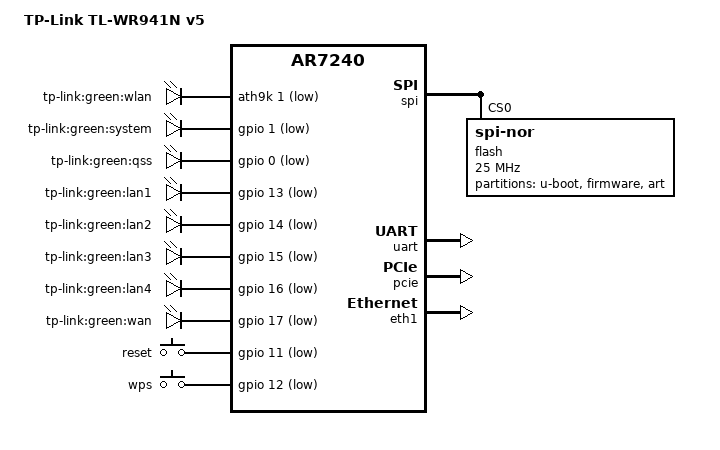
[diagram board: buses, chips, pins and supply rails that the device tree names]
// SPDX-License-Identifier: GPL-2.0-or-later OR MIT

/dts-v1/;

#include "ar7240.dtsi"

#include <dt-bindings/gpio/gpio.h>
#include <dt-bindings/input/input.h>

/ {
	compatible = "tplink,tl-wr941n-v5", "qca,ar7240";
	model = "TP-Link TL-WR941N v5";

	aliases {
		led-boot = &led_system;
		led-failsafe = &led_system;
		led-running = &led_system;
		led-upgrade = &led_system;
	};

	ath9k-leds {
		compatible = "gpio-leds";

		wlan {
			label = "tp-link:green:wlan";
			gpios = <&ath9k 1 GPIO_ACTIVE_LOW>;
			linux,default-trigger = "phy0tpt";
		};
	};

	gpio-leds {
		compatible = "gpio-leds";

		pinctrl-names = "default";
		pinctrl-0 = <&switch_led_disable_pins>;

		led_system: system {
			label = "tp-link:green:system";
			gpios = <&gpio 1 GPIO_ACTIVE_LOW>;
		};

		qss {
			label = "tp-link:green:qss";
			gpios = <&gpio 0 GPIO_ACTIVE_LOW>;
		};

		lan1 {
			label = "tp-link:green:lan1";
			gpios = <&gpio 13 GPIO_ACTIVE_LOW>;
		};

		lan2 {
			label = "tp-link:green:lan2";
			gpios = <&gpio 14 GPIO_ACTIVE_LOW>;
		};

		lan3 {
			label = "tp-link:green:lan3";
			gpios = <&gpio 15 GPIO_ACTIVE_LOW>;
		};

		lan4 {
			label = "tp-link:green:lan4";
			gpios = <&gpio 16 GPIO_ACTIVE_LOW>;
		};

		wan {
			label = "tp-link:green:wan";
			gpios = <&gpio 17 GPIO_ACTIVE_LOW>;
		};
	};

	keys {
		compatible = "gpio-keys";

		reset {
			label = "reset";
			gpios = <&gpio 11 GPIO_ACTIVE_LOW>;
			linux,code = <KEY_RESTART>;
		};

		wps {
			label = "wps";
			gpios = <&gpio 12 GPIO_ACTIVE_LOW>;
			linux,code = <KEY_WPS_BUTTON>;
		};
	};
};

&spi {
	status = "okay";
	num-cs = <1>;

	flash@0 {
		compatible = "jedec,spi-nor";
		reg = <0>;
		spi-max-frequency = <25000000>;

		partitions {
			compatible = "fixed-partitions";
			#address-cells = <1>;
			#size-cells = <1>;

			uboot: partition@0 {
				label = "u-boot";
				reg = <0x0 0x20000>;
				read-only;
			};

			partition@20000 {
				compatible = "tplink,firmware";
				label = "firmware";
				reg = <0x20000 0x3d0000>;
			};

			art: partition@3f0000 {
				label = "art";
				reg = <0x3f0000 0x10000>;
				read-only;
			};
		};
	};
};

&uart {
	status = "okay";
};

&pcie {
	status = "okay";

	ath9k: wifi@0,0 {
		reg = <0x0000 0 0 0 0>;
		qca,no-eeprom;
		mtd-mac-address = <&uboot 0x1fc00>;
		#gpio-cells = <2>;
		gpio-controller;
	};
};

&eth0 {
	mtd-mac-address = <&uboot 0x1fc00>;
	mtd-mac-address-increment = <1>;
};

&eth1 {
	status = "okay";

	mtd-mac-address = <&uboot 0x1fc00>;
};
